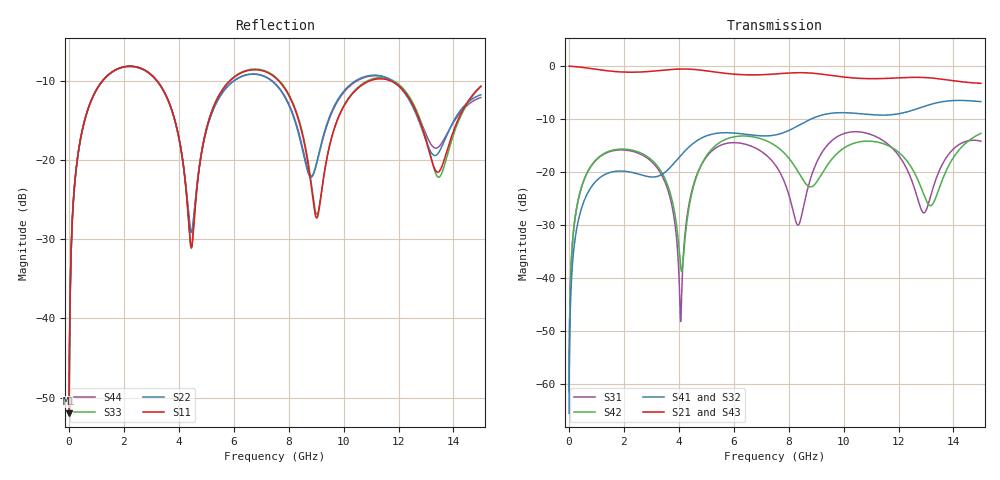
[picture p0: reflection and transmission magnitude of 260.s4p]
! Created with skrf 1.8.0 (http://scikit-rf.org).
# GHz S RI R 50.0
!freq ReS11 ImS11 ReS12 ImS12 ReS13 ImS13
! ReS14 ImS14
! ReS21 ImS21 ReS22 ImS22 ReS23 ImS23
! ReS24 ImS24
! ReS31 ImS31 ReS32 ImS32 ReS33 ImS33
! ReS34 ImS34
! ReS41 ImS41 ReS42 ImS42 ReS43 ImS43
! ReS44 ImS44
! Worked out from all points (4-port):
!   2499 points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, 5 MHz to 15 GHz, reference 50 ohm
!   strongest paths, dB at 5 MHz, 3.476 GHz, 7.19 GHz, 11.1 GHz, 15 GHz:
!     S21: 0.0, -0.8, -1.6, -2.4, -3.3
!     S43: 0.0, -0.8, -1.6, -2.4, -3.2
!     S41: -65.6, -20.1, -13.2, -9.2, -6.7
!     S32: -65.6, -20.2, -13.3, -9.3, -6.7
!     S42: -61.5, -21.1, -14.1, -14.2, -12.7
!     S31: -61.5, -21.7, -16.9, -13.1, -14.2
!   lowest |S11| = -52.0 dB at 5 MHz (marker M1), VSWR 1.01, Z = 50.2 + j0.153 ohm
!   |S11| at or under -10 dB: 3.207 GHz to 5.871 GHz (2.664 GHz wide, 58.7 % of centre); 7.63 GHz to 10.97 GHz (3.339 GHz wide, 35.9 % of centre); 11.7 GHz to end of sweep (the widest 3 of 4)
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0.005  0.00201 0.00152  0.998 -0.00391  0.000103 0.000835  -0.0001 -0.000518
       0.998 -0.00391  0.00201 0.00152  -0.0001 -0.000518  0.000104 0.000835
       0.000103 0.000835  -0.0001 -0.000518  0.00201 0.00152  0.998 -0.00391
       -0.0001 -0.000518  0.000104 0.000835  0.998 -0.00391  0.00201 0.00152
1.3193  0.283 0.1699  0.521 -0.7436  0.1353 0.0642  -0.095 -0.00119
        0.521 -0.7436  0.2813 0.1711  -0.0949 -0.00135  0.1403 0.057
        0.1353 0.0642  -0.0949 -0.00135  0.283 0.1698  0.5209 -0.7436
        -0.095 -0.00119  0.1403 0.057  0.5209 -0.7436  0.2812 0.1712
4.064193  0.0561 -0.1076  -0.8747 -0.338  -0.00366 -0.00129  -0.046 0.1351
          -0.8747 -0.338  0.0625 -0.1035  -0.048 0.1343  -0.011 -0.00709
          -0.00366 -0.00129  -0.048 0.1343  0.0554 -0.1071  -0.8749 -0.3378
          -0.046 0.1351  -0.011 -0.00709  -0.8749 -0.3378  0.0627 -0.1027
5.158399  0.1278 0.1442  -0.807 0.3764  0.0993 0.1179  0.1278 0.1862
          -0.807 0.3764  0.1277 0.1377  0.1249 0.1877  0.1228 0.1025
          0.0993 0.1179  0.1249 0.1877  0.1288 0.146  -0.8065 0.3767
          0.1278 0.1862  0.1228 0.1025  -0.8065 0.3767  0.1282 0.1386
8.984994  0.0421 -0.0126  0.8439 0.113  0.0636 0.099  0.0301 -0.3286
          0.8439 0.113  0.0829 0.0378  0.0396 -0.3272  -0.0475 0.0622
          0.0636 0.099  0.0396 -0.3272  0.0442 -0.0155  0.8437 0.1146
          0.0301 -0.3286  -0.0475 0.0622  0.8437 0.1146  0.0835 0.0333
11.82993  0.2981 -0.0776  -0.1228 -0.7601  0.0947 -0.1319  -0.3297 0.1152
          -0.1228 -0.7601  0.2953 -0.098  -0.3319 0.0987  0.0821 -0.1442
          0.0947 -0.1319  -0.3319 0.0987  0.3024 -0.0877  -0.1216 -0.7591
          -0.3297 0.1152  0.0821 -0.1442  -0.1216 -0.7591  0.2987 -0.0893
15  0.2672 0.1184  -0.4878 0.4849  0.1922 0.035  0.3801 0.2627
    -0.4878 0.4849  0.2535 0.0464  0.3649 0.2799  0.2203 -0.0706
    0.1922 0.035  0.3649 0.2799  0.2658 0.1167  -0.491 0.4846
    0.3801 0.2627  0.2203 -0.0706  -0.491 0.4846  0.244 0.0429
